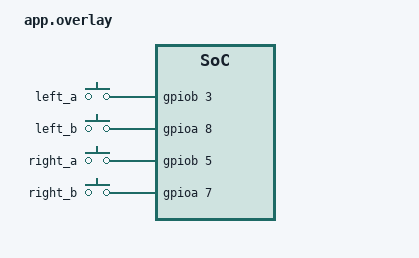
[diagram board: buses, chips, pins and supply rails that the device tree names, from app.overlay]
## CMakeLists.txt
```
cmake_minimum_required(VERSION 3.20.0)
find_package(Zephyr REQUIRED HINTS $ENV{ZEPHYR_BASE})
project(encoder_test)
target_sources(app PRIVATE src/main.c)
```

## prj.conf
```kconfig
CONFIG_GPIO=y
CONFIG_SERIAL=y
CONFIG_CONSOLE=y
CONFIG_UART_CONSOLE=y
CONFIG_PRINTK=y
CONFIG_MAIN_STACK_SIZE=2048
CONFIG_I2C=n
CONFIG_SPI=n
CONFIG_PWM=n
CONFIG_ADC=n
```

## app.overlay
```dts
/* NUCLEO-F401RE, encoder-only hand-turn test. No actuator outputs. */
#include <zephyr/dt-bindings/gpio/gpio.h>

/ {
    encoder_inputs {
        compatible = "gpio-keys";
        left_a: left_a { gpios = <&gpiob 3 GPIO_PULL_UP>; };
        left_b: left_b { gpios = <&gpioa 8 GPIO_PULL_UP>; };
        right_a: right_a { gpios = <&gpiob 5 GPIO_PULL_UP>; };
        right_b: right_b { gpios = <&gpioa 7 GPIO_PULL_UP>; };
    };
};

/* Keep only USART2 (ST-LINK USB serial console) active. In particular,
 * default I2C3 uses PA8 and default SPI1 uses PA7, both encoder inputs. */
&usart1 { status = "disabled"; };
&i2c1 { status = "disabled"; };
&i2c3 { status = "disabled"; };
&spi1 { status = "disabled"; };
&spi2 { status = "disabled"; };
&timers2 { status = "disabled"; };
&adc1 { status = "disabled"; };
```

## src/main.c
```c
#include <errno.h>
#include <stdint.h>
#include <zephyr/drivers/gpio.h>
#include <zephyr/kernel.h>
#include <zephyr/sys/printk.h>

struct encoder {
    struct gpio_dt_spec a;
    struct gpio_dt_spec b;
    struct gpio_callback callback_a;
    struct gpio_callback callback_b;
    uint8_t previous;
    int32_t count;
    uint32_t invalid;
    uint32_t errors;
};

static struct encoder encoders[] = {
    {.a = GPIO_DT_SPEC_GET(DT_NODELABEL(left_a), gpios),
     .b = GPIO_DT_SPEC_GET(DT_NODELABEL(left_b), gpios)},
    {.a = GPIO_DT_SPEC_GET(DT_NODELABEL(right_a), gpios),
     .b = GPIO_DT_SPEC_GET(DT_NODELABEL(right_b), gpios)},
};
static struct k_spinlock counter_lock;

/* Four counts per complete A/B cycle. Positive: 00 -> 01 -> 11 -> 10 -> 00.
 * Physical vehicle-forward polarity is deliberately not assumed here. */
static const int8_t step[16] = {
     0,  1, -1,  0,
    -1,  0,  0,  1,
     1,  0,  0, -1,
     0, -1,  1,  0,
};

static int read_ab(const struct encoder *encoder)
{
    int a = gpio_pin_get_dt(&encoder->a);
    int b = gpio_pin_get_dt(&encoder->b);

    if (a < 0) {
        return a;
    }
    if (b < 0) {
        return b;
    }
    return (a << 1) | b;
}

static void on_edge(const struct device *port, struct gpio_callback *callback,
                    gpio_port_pins_t pins)
{
    ARG_UNUSED(port);
    ARG_UNUSED(pins);

    for (size_t i = 0; i < ARRAY_SIZE(encoders); ++i) {
        struct encoder *encoder = &encoders[i];
        if (callback != &encoder->callback_a && callback != &encoder->callback_b) {
            continue;
        }

        k_spinlock_key_t key = k_spin_lock(&counter_lock);
        int current = read_ab(encoder);
        if (current < 0) {
            encoder->errors++;
        } else {
            /* Both bits changing means an edge was missed or signals are noisy.
             * Record the fault and resync without inventing movement. */
            if ((encoder->previous ^ current) == 3) {
                encoder->invalid++;
            } else {
                encoder->count += step[(encoder->previous << 2) | current];
            }
            encoder->previous = (uint8_t)current;
        }
        k_spin_unlock(&counter_lock, key);
        return;
    }
}

static int init_encoder(struct encoder *encoder)
{
    if (!gpio_is_ready_dt(&encoder->a) || !gpio_is_ready_dt(&encoder->b)) {
        return -ENODEV;
    }
    int ret = gpio_pin_configure_dt(&encoder->a, GPIO_INPUT);
    if (ret < 0) {
        return ret;
    }
    ret = gpio_pin_configure_dt(&encoder->b, GPIO_INPUT);
    if (ret < 0) {
        return ret;
    }

    int initial = read_ab(encoder);
    if (initial < 0) {
        return initial;
    }
    encoder->previous = (uint8_t)initial;
    gpio_init_callback(&encoder->callback_a, on_edge, BIT(encoder->a.pin));
    gpio_init_callback(&encoder->callback_b, on_edge, BIT(encoder->b.pin));
    ret = gpio_add_callback(encoder->a.port, &encoder->callback_a);
    if (ret < 0) {
        return ret;
    }
    ret = gpio_add_callback(encoder->b.port, &encoder->callback_b);
    if (ret < 0) {
        return ret;
    }
    ret = gpio_pin_interrupt_configure_dt(&encoder->a, GPIO_INT_EDGE_BOTH);
    if (ret < 0) {
        return ret;
    }
    return gpio_pin_interrupt_configure_dt(&encoder->b, GPIO_INT_EDGE_BOTH);
}

int main(void)
{
    for (size_t i = 0; i < ARRAY_SIZE(encoders); ++i) {
        int ret = init_encoder(&encoders[i]);
        if (ret < 0) {
            printk("ERROR: encoder %u initialization failed: %d\n", (unsigned)i, ret);
            return ret;
        }
    }

    printk("ENCODER TEST: 12V OFF; hand-turn only; x4 counting; 115200 baud\n");
    printk("Left A=PB3/D3 B=PA8/D7; right A=PB5/D4 B=PA7/D11\n");
    printk("Sign is uncalibrated: record vehicle-forward sign for each wheel.\n");

    while (1) {
        int32_t counts[2];
        uint32_t invalid[2];
        uint32_t errors = 0;
        int levels[2];
        k_spinlock_key_t key = k_spin_lock(&counter_lock);
        for (size_t i = 0; i < ARRAY_SIZE(encoders); ++i) {
            levels[i] = read_ab(&encoders[i]);
            if (levels[i] < 0) {
                encoders[i].errors++;
            }
            counts[i] = encoders[i].count;
            invalid[i] = encoders[i].invalid;
            errors += encoders[i].errors;
        }
        k_spin_unlock(&counter_lock, key);

        if (levels[0] < 0 || levels[1] < 0 || errors) {
            printk("ERROR: encoder GPIO read failed; left=%d right=%d errors=%u\n",
                   levels[0], levels[1], (unsigned)errors);
            return -EIO;
        }
        printk("ENC left=%ld right=%ld left_ab=%d%d right_ab=%d%d "
               "invalid_left=%u invalid_right=%u errors=%u\n",
               (long)counts[0], (long)counts[1],
               (levels[0] >> 1) & 1, levels[0] & 1,
               (levels[1] >> 1) & 1, levels[1] & 1,
               (unsigned)invalid[0], (unsigned)invalid[1], (unsigned)errors);
        k_msleep(250);
    }
}
```
